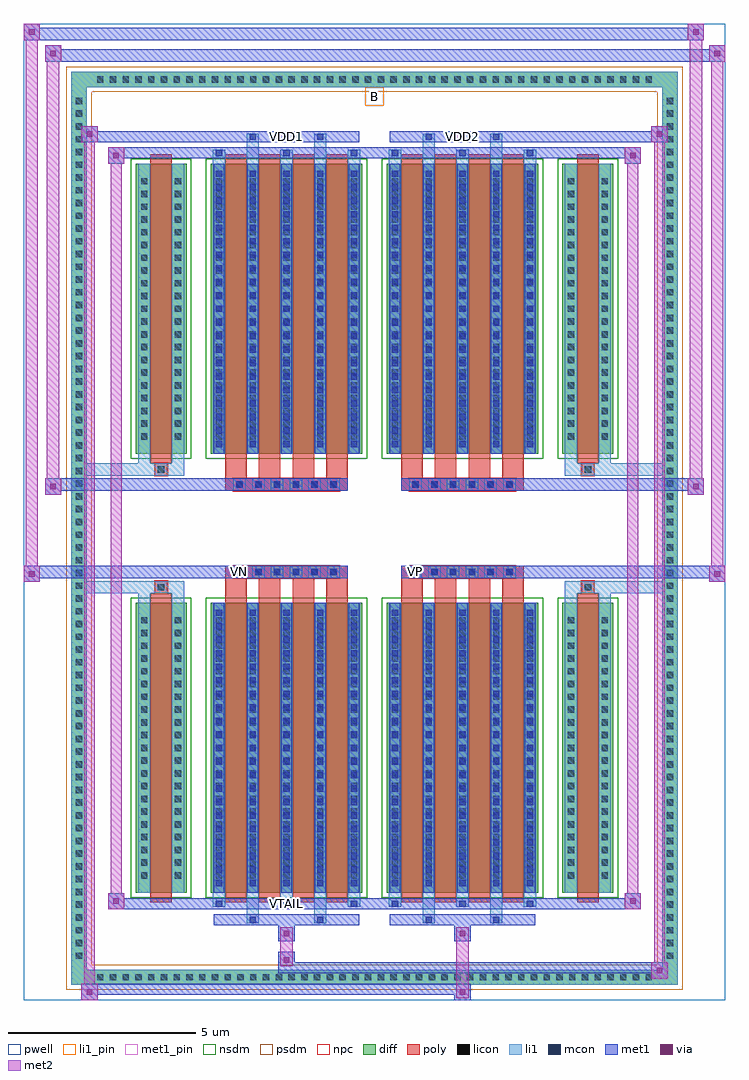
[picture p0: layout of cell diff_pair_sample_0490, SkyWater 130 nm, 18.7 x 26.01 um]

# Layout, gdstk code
import gdstk
lib = gdstk.Library(unit=1e-6, precision=5e-09)
def R(c, l, rs):  # rectangles x0, y0, x1, y1
    for r in rs: c.add(gdstk.rectangle(r[:2], r[2:], *l))
def A(c, l, x, y, w, h, nx, ny, dx, dy):  # array of equal rectangles
    R(c, l, [(x+i*dx, y+j*dy, x+i*dx+w, y+j*dy+h) for i in range(nx) for j in range(ny)])
def P(c, l, *ps):  # polygons
    for p in ps: c.add(gdstk.Polygon(p, *l))
pwell = (64, 44)
diff = (65, 20)
poly = (66, 20)
licon = (66, 44)
li1_pin = (67, 16)
li1 = (67, 20)
mcon = (67, 44)
met1_pin = (68, 16)
met1 = (68, 20)
via = (68, 44)
met2 = (69, 20)
nsdm = (93, 44)
psdm = (94, 20)
npc = (95, 20)

diff_pair_sample_0490 = lib.new_cell('diff_pair_sample_0490')
R(diff_pair_sample_0490, pwell, [(-9.35,-12.57,9.35,13.44), (-6.67,-10.76,-0.01,-0.8), (0.01,-10.76,6.67,-0.8), (-6.67,0.8,-0.01,10.76), (0.01,0.8,6.67,10.76)])
A(diff_pair_sample_0490, diff, -7.515, -12.17, 0.41, 0.41, 44, 2, 0.34, 23.93)
A(diff_pair_sample_0490, diff, -8.08, -11.595, 0.41, 0.41, 1, 68, 0, 0.34)
A(diff_pair_sample_0490, diff, 7.67, -11.595, 0.41, 0.41, 1, 68, 0, 0.34)
R(diff_pair_sample_0490, diff, [(-7.515,-12.17,7.515,-11.76), (-8.08,-11.595,-7.67,11.595), (7.67,-11.595,8.08,11.595), (-6.36,-9.715,-5.01,-1.985), (-4.37,-9.715,-0.32,-1.985), (0.32,-9.715,4.37,-1.985), (5.01,-9.715,6.36,-1.985), (-6.36,1.985,-5.01,9.715), (-4.37,1.985,-0.32,9.715), (0.32,1.985,4.37,9.715), (5.01,1.985,6.36,9.715), (-7.515,11.76,7.515,12.17)])
P(diff_pair_sample_0490, diff, [(8.08,12.17),(-8.08,12.17),(-8.08,-11.76),(-7.67,-11.76),(-7.67,11.76),(7.67,11.76),(7.67,-11.76),(-7.67,-11.76),(-8.08,-11.76),(-8.08,-12.17),(8.08,-12.17)])
A(diff_pair_sample_0490, poly, -3.98, -9.965, 0.57, 8.23, 4, 2, 0.9, 11.7)
A(diff_pair_sample_0490, poly, 0.71, -9.965, 0.57, 8.23, 4, 2, 0.9, 11.7)
A(diff_pair_sample_0490, poly, -3.98, -1.735, 0.57, 0.405, 4, 2, 0.9, 3.065)
A(diff_pair_sample_0490, poly, 0.71, -1.735, 0.57, 0.405, 4, 2, 0.9, 3.065)
A(diff_pair_sample_0490, poly, -3.76, -1.33, 0.33, 0.33, 6, 2, 0.5, 2.33)
A(diff_pair_sample_0490, poly, 0.93, -1.33, 0.33, 0.33, 6, 2, 0.5, 2.33)
R(diff_pair_sample_0490, poly, [(-5.97,-9.965,-5.4,-1.735), (5.4,-9.965,5.97,-1.735), (-5.85,-1.735,-5.52,-1.405), (-5.85,-1.735,-5.52,-1.405), (5.52,-1.735,5.85,-1.405), (5.52,-1.735,5.85,-1.405), (-3.98,-1.33,-0.71,-1), (0.71,-1.33,3.98,-1), (-3.98,1,-0.71,1.33), (0.71,1,3.98,1.33), (-5.85,1.405,-5.52,1.735), (-5.85,1.405,-5.52,1.735), (5.52,1.405,5.85,1.735), (5.52,1.405,5.85,1.735), (-5.97,1.735,-5.4,9.965), (5.4,1.735,5.97,9.965)])
A(diff_pair_sample_0490, licon, -7.395, -12.05, 0.17, 0.17, 44, 2, 0.34, 23.93)
A(diff_pair_sample_0490, licon, -7.96, -11.475, 0.17, 0.17, 1, 68, 0, 0.34)
A(diff_pair_sample_0490, licon, 7.79, -11.475, 0.17, 0.17, 1, 68, 0, 0.34)
A(diff_pair_sample_0490, licon, -6.22, -9.335, 0.17, 0.17, 1, 21, 0, 0.34)
A(diff_pair_sample_0490, licon, -5.32, -9.335, 0.17, 0.17, 1, 21, 0, 0.34)
A(diff_pair_sample_0490, licon, -4.23, -9.335, 0.17, 0.17, 5, 21, 0.9, 0.34)
A(diff_pair_sample_0490, licon, 0.46, -9.335, 0.17, 0.17, 5, 21, 0.9, 0.34)
A(diff_pair_sample_0490, licon, 5.15, -9.335, 0.17, 0.17, 1, 21, 0, 0.34)
A(diff_pair_sample_0490, licon, 6.05, -9.335, 0.17, 0.17, 1, 21, 0, 0.34)
A(diff_pair_sample_0490, licon, -3.68, -1.25, 0.17, 0.17, 6, 2, 0.5, 2.33)
A(diff_pair_sample_0490, licon, 1.01, -1.25, 0.17, 0.17, 6, 2, 0.5, 2.33)
A(diff_pair_sample_0490, licon, -6.22, 2.365, 0.17, 0.17, 1, 21, 0, 0.34)
A(diff_pair_sample_0490, licon, -5.32, 2.365, 0.17, 0.17, 1, 21, 0, 0.34)
A(diff_pair_sample_0490, licon, -4.23, 2.365, 0.17, 0.17, 5, 21, 0.9, 0.34)
A(diff_pair_sample_0490, licon, 0.46, 2.365, 0.17, 0.17, 5, 21, 0.9, 0.34)
A(diff_pair_sample_0490, licon, 5.15, 2.365, 0.17, 0.17, 1, 21, 0, 0.34)
A(diff_pair_sample_0490, licon, 6.05, 2.365, 0.17, 0.17, 1, 21, 0, 0.34)
R(diff_pair_sample_0490, licon, [(-5.77,-1.655,-5.6,-1.485), (5.6,-1.655,5.77,-1.485), (-5.77,1.485,-5.6,1.655), (5.6,1.485,5.77,1.655)])
R(diff_pair_sample_0490, li1_pin, [(-0.25,11.26,0.25,11.76)])
A(diff_pair_sample_0490, li1, -7.475, -12.13, 0.33, 0.33, 44, 2, 0.34, 23.93)
A(diff_pair_sample_0490, li1, -8.04, -11.555, 0.33, 0.33, 1, 68, 0, 0.34)
A(diff_pair_sample_0490, li1, 7.71, -11.555, 0.33, 0.33, 1, 68, 0, 0.34)
A(diff_pair_sample_0490, li1, -4.31, -10.09, 0.33, 0.375, 3, 2, 1.8, 19.805)
A(diff_pair_sample_0490, li1, -4.23, -10.09, 0.17, 0.17, 3, 2, 1.8, 20.01)
A(diff_pair_sample_0490, li1, 0.38, -10.09, 0.33, 0.375, 3, 2, 1.8, 19.805)
A(diff_pair_sample_0490, li1, 0.46, -10.09, 0.17, 0.17, 3, 2, 1.8, 20.01)
A(diff_pair_sample_0490, li1, -4.31, -9.715, 0.33, 7.73, 5, 2, 0.9, 11.7)
A(diff_pair_sample_0490, li1, 0.38, -9.715, 0.33, 7.73, 5, 2, 0.9, 11.7)
A(diff_pair_sample_0490, li1, -4.23, -9.535, 0.17, 0.17, 5, 21, 0.9, 0.36)
A(diff_pair_sample_0490, li1, -4.23, -9.535, 0.17, 7.37, 5, 2, 0.9, 11.7)
A(diff_pair_sample_0490, li1, 0.46, -9.535, 0.17, 0.17, 5, 21, 0.9, 0.36)
A(diff_pair_sample_0490, li1, 0.46, -9.535, 0.17, 7.37, 5, 2, 0.9, 11.7)
A(diff_pair_sample_0490, li1, -6.3, -9.415, 0.33, 0.33, 1, 21, 0, 0.34)
A(diff_pair_sample_0490, li1, -5.4, -9.415, 0.33, 0.33, 1, 21, 0, 0.34)
A(diff_pair_sample_0490, li1, -4.31, -9.415, 0.33, 0.33, 5, 21, 0.9, 0.34)
A(diff_pair_sample_0490, li1, 0.38, -9.415, 0.33, 0.33, 5, 21, 0.9, 0.34)
A(diff_pair_sample_0490, li1, 5.07, -9.415, 0.33, 0.33, 1, 21, 0, 0.34)
A(diff_pair_sample_0490, li1, 5.97, -9.415, 0.33, 0.33, 1, 21, 0, 0.34)
A(diff_pair_sample_0490, li1, -3.76, -1.33, 0.33, 0.33, 6, 2, 0.5, 2.33)
A(diff_pair_sample_0490, li1, 0.93, -1.33, 0.33, 0.33, 6, 2, 0.5, 2.33)
A(diff_pair_sample_0490, li1, -4.23, 2.165, 0.17, 0.17, 5, 21, 0.9, 0.36)
A(diff_pair_sample_0490, li1, 0.46, 2.165, 0.17, 0.17, 5, 21, 0.9, 0.36)
A(diff_pair_sample_0490, li1, -6.3, 2.285, 0.33, 0.33, 1, 21, 0, 0.34)
A(diff_pair_sample_0490, li1, -5.4, 2.285, 0.33, 0.33, 1, 21, 0, 0.34)
A(diff_pair_sample_0490, li1, -4.31, 2.285, 0.33, 0.33, 5, 21, 0.9, 0.34)
A(diff_pair_sample_0490, li1, 0.38, 2.285, 0.33, 0.33, 5, 21, 0.9, 0.34)
A(diff_pair_sample_0490, li1, 5.07, 2.285, 0.33, 0.33, 1, 21, 0, 0.34)
A(diff_pair_sample_0490, li1, 5.97, 2.285, 0.33, 0.33, 1, 21, 0, 0.34)
R(diff_pair_sample_0490, li1, [(-8.08,-12.17,-7.67,-11.76), (-8.08,-12.17,-7.67,-11.76), (-7.67,-12.17,7.67,-11.76), (7.67,-12.17,8.08,-11.76), (7.67,-12.17,8.08,-11.76), (-8.08,-11.76,-7.67,11.76), (7.67,-11.76,8.08,11.76), (-3.41,-10.52,-3.08,-9.715), (-3.33,-10.52,-3.16,-10.35), (-1.61,-10.52,-1.28,-9.715), (-1.53,-10.52,-1.36,-10.35), (1.28,-10.52,1.61,-9.715), (1.36,-10.52,1.53,-10.35), (3.08,-10.52,3.41,-9.715), (3.16,-10.52,3.33,-10.35), (-6.3,-9.715,-5.97,-1.985), (-5.4,-9.715,-5.07,-1.985), (5.07,-9.715,5.4,-1.985), (5.97,-9.715,6.3,-1.985), (-6.3,-1.985,-5.97,-1.405), (-5.4,-1.985,-5.07,-1.405), (5.07,-1.985,5.4,-1.405), (5.97,-1.985,6.3,-1.405), (-8.08,-1.735,-5.85,-1.405), (-6.3,-1.735,-5.85,-1.405), (-5.85,-1.735,-5.52,-1.405), (-5.52,-1.735,-5.07,-1.405), (5.07,-1.735,5.52,-1.405), (5.52,-1.735,5.85,-1.405), (5.52,-1.735,8.08,-1.405), (5.85,-1.735,6.3,-1.405), (-8.08,1.405,-5.85,1.735), (-6.3,1.405,-5.85,1.735), (-6.3,1.405,-5.97,1.985), (-5.85,1.405,-5.52,1.735), (-5.52,1.405,-5.07,1.735), (-5.4,1.405,-5.07,1.985), (5.07,1.405,5.52,1.735), (5.07,1.405,5.4,1.985), (5.52,1.405,5.85,1.735), (5.52,1.405,8.08,1.735), (5.85,1.405,6.3,1.735), (5.97,1.405,6.3,1.985), (-6.3,1.985,-5.97,9.715), (-5.4,1.985,-5.07,9.715), (5.07,1.985,5.4,9.715), (5.97,1.985,6.3,9.715), (-3.41,9.715,-3.08,10.52), (-1.61,9.715,-1.28,10.52), (1.28,9.715,1.61,10.52), (3.08,9.715,3.41,10.52), (-3.33,10.35,-3.16,10.52), (-1.53,10.35,-1.36,10.52), (1.36,10.35,1.53,10.52), (3.16,10.35,3.33,10.52), (-8.08,11.76,-7.67,12.17), (-8.08,11.76,-7.67,12.17), (-7.67,11.76,7.67,12.17), (7.67,11.76,8.08,12.17), (7.67,11.76,8.08,12.17)])
A(diff_pair_sample_0490, mcon, -4.23, -10.09, 0.17, 0.17, 3, 2, 1.8, 20.01)
A(diff_pair_sample_0490, mcon, 0.46, -10.09, 0.17, 0.17, 3, 2, 1.8, 20.01)
A(diff_pair_sample_0490, mcon, -4.23, -9.535, 0.17, 0.17, 5, 21, 0.9, 0.36)
A(diff_pair_sample_0490, mcon, 0.46, -9.535, 0.17, 0.17, 5, 21, 0.9, 0.36)
A(diff_pair_sample_0490, mcon, -3.68, -1.25, 0.17, 0.17, 6, 2, 0.5, 2.33)
A(diff_pair_sample_0490, mcon, 1.01, -1.25, 0.17, 0.17, 6, 2, 0.5, 2.33)
A(diff_pair_sample_0490, mcon, -4.23, 2.165, 0.17, 0.17, 5, 21, 0.9, 0.36)
A(diff_pair_sample_0490, mcon, 0.46, 2.165, 0.17, 0.17, 5, 21, 0.9, 0.36)
R(diff_pair_sample_0490, mcon, [(-3.33,-10.52,-3.16,-10.35), (-1.53,-10.52,-1.36,-10.35), (1.36,-10.52,1.53,-10.35), (3.16,-10.52,3.33,-10.35), (-3.33,10.35,-3.16,10.52), (-1.53,10.35,-1.36,10.52), (1.36,10.35,1.53,10.52), (3.16,10.35,3.33,10.52)])
R(diff_pair_sample_0490, met1_pin, [(-2.48,-10.13,-2.21,-9.86), (-3.73,-1.29,-3.46,-1.02), (0.96,-1.29,1.23,-1.02), (-2.48,10.31,-2.21,10.58), (2.21,10.31,2.48,10.58)])
A(diff_pair_sample_0490, met1, -4.29, -10.15, 0.29, 0.29, 3, 2, 1.8, 20.01)
A(diff_pair_sample_0490, met1, 0.4, -10.15, 0.29, 0.29, 3, 2, 1.8, 20.01)
A(diff_pair_sample_0490, met1, -4.29, -9.715, 0.29, 7.73, 5, 2, 0.9, 11.7)
A(diff_pair_sample_0490, met1, 0.4, -9.715, 0.29, 7.73, 5, 2, 0.9, 11.7)
A(diff_pair_sample_0490, met1, -4.29, -9.595, 0.29, 0.29, 5, 21, 0.9, 0.36)
A(diff_pair_sample_0490, met1, 0.4, -9.595, 0.29, 0.29, 5, 21, 0.9, 0.36)
A(diff_pair_sample_0490, met1, -3.74, -1.31, 0.29, 0.29, 6, 2, 0.5, 2.33)
A(diff_pair_sample_0490, met1, 0.95, -1.31, 0.29, 0.29, 6, 2, 0.5, 2.33)
A(diff_pair_sample_0490, met1, -4.29, 2.105, 0.29, 0.29, 5, 21, 0.9, 0.36)
A(diff_pair_sample_0490, met1, 0.4, 2.105, 0.29, 0.29, 5, 21, 0.9, 0.36)
R(diff_pair_sample_0490, met1, [(-7.81,-12.57,-7.38,-12.14), (2.13,-12.57,2.56,-12.14), (-7.81,-12.43,2.56,-12.14), (7.38,-12,7.81,-11.57), (-2.56,-11.86,7.81,-11.57), (-2.56,-11.72,-2.13,-11.29), (-2.56,-11.01,-2.13,-10.58), (2.13,-11.01,2.56,-10.58), (-4.29,-10.58,-0.4,-10.29), (-3.39,-10.58,-3.1,-10.29), (-1.59,-10.58,-1.3,-10.29), (0.4,-10.58,4.29,-10.29), (1.3,-10.58,1.59,-10.29), (3.1,-10.58,3.39,-10.29), (-7.1,-10.15,-6.67,-9.72), (-7.1,-10.15,-4.29,-9.86), (-4.29,-10.15,-0.4,-9.86), (-0.4,-10.15,0.4,-9.86), (0.4,-10.15,4.29,-9.86), (4.29,-10.15,7.1,-9.86), (6.67,-10.15,7.1,-9.72), (-9.35,-1.43,-8.92,-1), (8.92,-1.43,9.35,-1), (-9.35,-1.33,-0.71,-1), (-3.98,-1.33,-0.71,-1), (0.71,-1.33,3.98,-1), (0.71,-1.33,9.35,-1), (-8.78,0.9,-8.35,1.33), (8.35,0.9,8.78,1.33), (-8.78,1,-3.98,1.33), (-3.98,1,-0.71,1.33), (0.71,1,3.98,1.33), (3.98,1,8.78,1.33), (-7.1,9.72,-6.67,10.15), (6.67,9.72,7.1,10.15), (-7.1,9.86,-4.29,10.15), (-4.29,9.86,-0.4,10.15), (-0.4,9.86,0.4,10.15), (0.4,9.86,4.29,10.15), (4.29,9.86,7.1,10.15), (-7.81,10.29,-7.38,10.72), (-7.81,10.29,-4.29,10.58), (-4.29,10.29,-0.4,10.58), (-3.39,10.29,-3.1,10.58), (-1.59,10.29,-1.3,10.58), (0.4,10.29,4.29,10.58), (1.3,10.29,1.59,10.58), (3.1,10.29,3.39,10.58), (4.29,10.29,7.81,10.58), (7.38,10.29,7.81,10.72), (-8.78,12.44,-8.35,12.87), (-8.78,12.44,-6.67,12.77), (-6.67,12.44,6.67,12.77), (6.67,12.44,9.35,12.77), (8.92,12.44,9.35,12.87), (-9.35,13.01,-8.92,13.44), (-9.35,13.01,-6.67,13.34), (-6.67,13.01,6.67,13.34), (6.67,13.01,8.78,13.34), (8.35,13.01,8.78,13.44)])
R(diff_pair_sample_0490, via, [(-7.67,-12.43,-7.52,-12.28), (2.27,-12.43,2.42,-12.28), (7.52,-11.86,7.67,-11.71), (-2.42,-11.58,-2.27,-11.43), (-2.42,-10.87,-2.27,-10.72), (2.27,-10.87,2.42,-10.72), (-6.96,-10.01,-6.81,-9.86), (6.81,-10.01,6.96,-9.86), (-9.21,-1.29,-9.06,-1.14), (9.06,-1.29,9.21,-1.14), (-8.64,1.04,-8.49,1.19), (8.49,1.04,8.64,1.19), (-6.96,9.86,-6.81,10.01), (6.81,9.86,6.96,10.01), (-7.67,10.43,-7.52,10.58), (7.52,10.43,7.67,10.58), (-8.64,12.58,-8.49,12.73), (9.06,12.58,9.21,12.73), (-9.21,13.15,-9.06,13.3), (8.49,13.15,8.64,13.3)])
R(diff_pair_sample_0490, met2, [(-7.81,-12.57,-7.38,-12.14), (-7.74,-12.57,-7.45,10.72), (-7.45,-12.57,-7.38,-12.14), (-7.76,-12.52,-7.43,-12.19), (2.18,-12.52,2.51,-12.19), (2.18,-12.19,2.51,-10.96), (7.38,-12,7.81,-11.57), (7.45,-12,7.74,10.72), (7.74,-12,7.81,-11.57), (7.43,-11.95,7.76,-11.62), (-2.51,-11.67,-2.18,-11.34), (-2.51,-11.34,-2.18,-10.96), (-2.51,-10.96,-2.18,-10.63), (2.18,-10.96,2.51,-10.63), (-7.1,-10.15,-6.67,-9.72), (-7.03,-10.15,-6.74,10.15), (-6.74,-10.15,-6.67,-9.72), (6.67,-10.15,7.1,-9.72), (6.74,-10.15,7.03,10.15), (7.03,-10.15,7.1,-9.72), (-7.05,-10.1,-6.72,-9.77), (6.72,-10.1,7.05,-9.77), (-9.35,-1.43,-8.92,-1), (-9.3,-1.43,-8.97,13.44), (-8.97,-1.43,-8.92,-1), (8.92,-1.43,9.35,-1), (8.97,-1.43,9.3,12.87), (9.3,-1.43,9.35,-1), (-9.3,-1.38,-8.97,-1.05), (8.97,-1.38,9.3,-1.05), (-8.78,0.9,-8.35,1.33), (-8.73,0.9,-8.4,12.87), (-8.4,0.9,-8.35,1.33), (8.35,0.9,8.78,1.33), (8.4,0.9,8.73,13.44), (8.73,0.9,8.78,1.33), (-8.73,0.95,-8.4,1.28), (8.4,0.95,8.73,1.28), (-7.1,9.72,-6.67,10.15), (-6.74,9.72,-6.67,10.15), (6.67,9.72,7.1,10.15), (7.03,9.72,7.1,10.15), (-7.05,9.77,-6.72,10.1), (6.72,9.77,7.05,10.1), (-7.81,10.29,-7.38,10.72), (-7.45,10.29,-7.38,10.72), (7.38,10.29,7.81,10.72), (7.74,10.29,7.81,10.72), (-7.76,10.34,-7.43,10.67), (7.43,10.34,7.76,10.67), (-8.78,12.44,-8.35,12.87), (-8.4,12.44,-8.35,12.87), (8.92,12.44,9.35,12.87), (9.3,12.44,9.35,12.87), (-8.73,12.49,-8.4,12.82), (8.97,12.49,9.3,12.82), (-9.35,13.01,-8.92,13.44), (-8.97,13.01,-8.92,13.44), (8.35,13.01,8.78,13.44), (8.73,13.01,8.78,13.44), (-9.3,13.06,-8.97,13.39), (8.4,13.06,8.73,13.39)])
R(diff_pair_sample_0490, nsdm, [(-6.49,-9.845,-4.88,-1.855), (-4.5,-9.845,-0.19,-1.855), (0.19,-9.845,4.5,-1.855), (4.88,-9.845,6.49,-1.855), (-6.49,1.855,-4.88,9.845), (-4.5,1.855,-0.19,9.845), (0.19,1.855,4.5,9.845), (4.88,1.855,6.49,9.845)])
P(diff_pair_sample_0490, psdm, [(8.21,12.3),(-8.21,12.3),(-8.21,-11.63),(-7.54,-11.63),(-7.54,11.63),(7.54,11.63),(7.54,-11.63),(-7.54,-11.63),(-8.21,-11.63),(-8.21,-12.3),(8.21,-12.3)])
A(diff_pair_sample_0490, npc, -3.78, -1.35, 0.37, 0.37, 6, 2, 0.5, 2.33)
A(diff_pair_sample_0490, npc, 0.91, -1.35, 0.37, 0.37, 6, 2, 0.5, 2.33)
R(diff_pair_sample_0490, npc, [(-5.87,-1.755,-5.5,-1.385), (5.5,-1.755,5.87,-1.385), (-3.78,-1.35,-2.91,-0.98), (-3.78,-1.35,-2.91,-0.98), (-3.28,-1.35,-2.41,-0.98), (-3.28,-1.35,-2.41,-0.98), (-2.78,-1.35,-1.91,-0.98), (-2.78,-1.35,-1.91,-0.98), (-2.28,-1.35,-1.41,-0.98), (-2.28,-1.35,-1.41,-0.98), (-1.78,-1.35,-0.91,-0.98), (-1.78,-1.35,-0.91,-0.98), (0.91,-1.35,1.78,-0.98), (0.91,-1.35,1.78,-0.98), (1.41,-1.35,2.28,-0.98), (1.41,-1.35,2.28,-0.98), (1.91,-1.35,2.78,-0.98), (1.91,-1.35,2.78,-0.98), (2.41,-1.35,3.28,-0.98), (2.41,-1.35,3.28,-0.98), (2.91,-1.35,3.78,-0.98), (2.91,-1.35,3.78,-0.98), (-3.78,0.98,-2.91,1.35), (-3.78,0.98,-2.91,1.35), (-3.28,0.98,-2.41,1.35), (-3.28,0.98,-2.41,1.35), (-2.78,0.98,-1.91,1.35), (-2.78,0.98,-1.91,1.35), (-2.28,0.98,-1.41,1.35), (-2.28,0.98,-1.41,1.35), (-1.78,0.98,-0.91,1.35), (-1.78,0.98,-0.91,1.35), (0.91,0.98,1.78,1.35), (0.91,0.98,1.78,1.35), (1.41,0.98,2.28,1.35), (1.41,0.98,2.28,1.35), (1.91,0.98,2.78,1.35), (1.91,0.98,2.78,1.35), (2.41,0.98,3.28,1.35), (2.41,0.98,3.28,1.35), (2.91,0.98,3.78,1.35), (2.91,0.98,3.78,1.35), (-5.87,1.385,-5.5,1.755), (5.5,1.385,5.87,1.755)])
diff_pair_sample_0490.add(gdstk.Label('VTAIL', (-2.345,-9.995), layer=68, texttype=5))
diff_pair_sample_0490.add(gdstk.Label('VN', (-3.595,-1.155), layer=68, texttype=5))
diff_pair_sample_0490.add(gdstk.Label('VP', (1.095,-1.155), layer=68, texttype=5))
diff_pair_sample_0490.add(gdstk.Label('B', (0,11.51), layer=67, texttype=5))
diff_pair_sample_0490.add(gdstk.Label('VDD2', (2.345,10.445), layer=68, texttype=5))
diff_pair_sample_0490.add(gdstk.Label('VDD1', (-2.345,10.445), layer=68, texttype=5))

lib.write_gds('diff_pair_sample_0490.gds')
